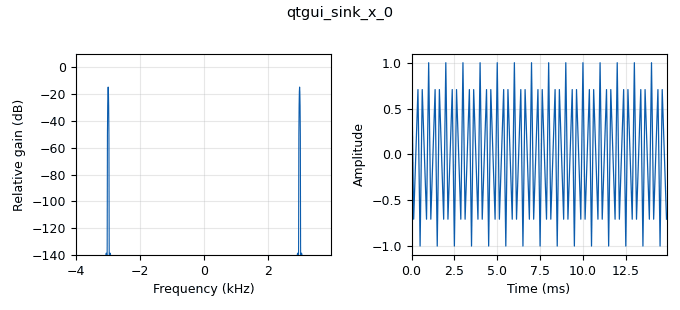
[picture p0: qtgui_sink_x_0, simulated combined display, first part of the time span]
options:
  parameters:
    generate_options: qt_gui
    id: top_block
    output_language: python
  states: {}

blocks:
- name: Divisor
  id: variable
  parameters:
    value: '2'
  states: {}
- name: samp_rate
  id: variable
  parameters:
    value: '8000'
  states: {}
- name: analog_sig_source_x_0
  id: analog_sig_source_x
  parameters:
    amp: '1'
    freq: '1000'
    offset: '0'
    phase: '0'
    samp_rate: samp_rate
    type: float
    waveform: analog.GR_COS_WAVE
  states: {}
- name: audio_sink_0
  id: audio_sink
  parameters:
    samp_rate: samp_rate
  states: {state: disabled}
- name: blocks_multiply_xx_0
  id: blocks_multiply_xx
  parameters:
    type: float
  states: {}
- name: blocks_throttle_0
  id: blocks_throttle
  parameters:
    samples_per_second: samp_rate
    type: float
  states: {}
- name: blocks_vector_source_x_0
  id: blocks_vector_source_x
  parameters:
    repeat: 'True'
    type: float
    vector: (1, -1)
  states: {}
- name: blocks_wavfile_source_0
  id: blocks_wavfile_source
  parameters:
    file: /Users/edmar/Documents/GitHub/PDS/GnuRadio/handel.wav
    repeat: 'True'
  states: {state: disabled}
- name: qtgui_sink_x_0
  id: qtgui_sink_x
  parameters:
    bw: samp_rate
    fc: '0'
    fftsize: '1024'
    type: float
    wintype: firdes.WIN_BLACKMAN_hARRIS
  states: {}

connections:
- [analog_sig_source_x_0, '0', blocks_multiply_xx_0, '0']
- [blocks_multiply_xx_0, '0', blocks_throttle_0, '0']
- [blocks_throttle_0, '0', qtgui_sink_x_0, '0']
- [blocks_vector_source_x_0, '0', blocks_multiply_xx_0, '1']
- [blocks_wavfile_source_0, '0', audio_sink_0, '0']

metadata:
  file_format: 1
